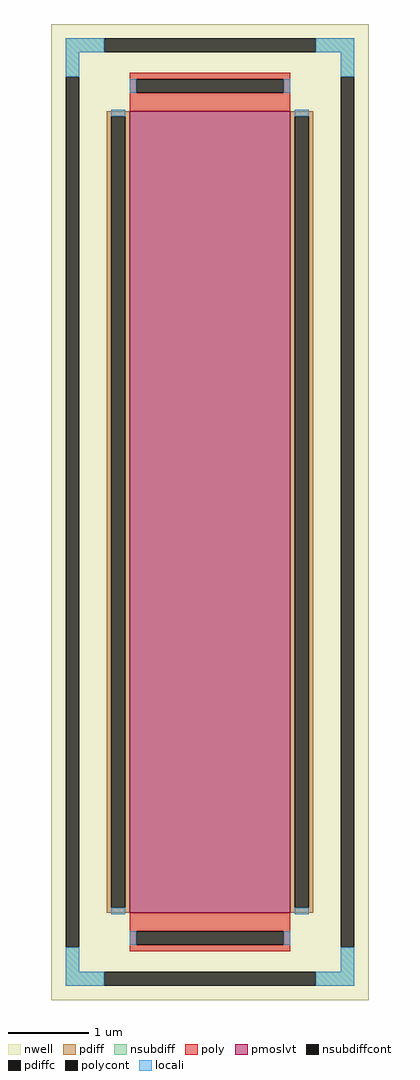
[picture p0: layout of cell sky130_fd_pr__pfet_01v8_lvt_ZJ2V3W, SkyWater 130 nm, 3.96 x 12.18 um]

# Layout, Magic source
magic
tech sky130A
<< nwell >>
rect -198 -609 198 609
<< pmoslvt >>
rect -100 -500 100 500
<< pdiff >>
rect -129 494 -100 500
rect -129 -494 -123 494
rect -106 -494 -100 494
rect -129 -500 -100 -494
rect 100 494 129 500
rect 100 -494 106 494
rect 123 -494 129 494
rect 100 -500 129 -494
<< pdiffc >>
rect -123 -494 -106 494
rect 106 -494 123 494
<< nsubdiff >>
rect -180 574 -132 591
rect 132 574 180 591
rect -180 543 -163 574
rect 163 543 180 574
rect -180 -574 -163 -543
rect 163 -574 180 -543
rect -180 -591 -132 -574
rect 132 -591 180 -574
<< nsubdiffcont >>
rect -132 574 132 591
rect -180 -543 -163 543
rect 163 -543 180 543
rect -132 -591 132 -574
<< poly >>
rect -100 540 100 548
rect -100 523 -92 540
rect 92 523 100 540
rect -100 500 100 523
rect -100 -523 100 -500
rect -100 -540 -92 -523
rect 92 -540 100 -523
rect -100 -548 100 -540
<< polycont >>
rect -92 523 92 540
rect -92 -540 92 -523
<< locali >>
rect -180 574 -132 591
rect 132 574 180 591
rect -180 543 -163 574
rect 163 543 180 574
rect -100 523 -92 540
rect 92 523 100 540
rect -123 494 -106 502
rect -123 -502 -106 -494
rect 106 494 123 502
rect 106 -502 123 -494
rect -100 -540 -92 -523
rect 92 -540 100 -523
rect -180 -574 -163 -543
rect 163 -574 180 -543
rect -180 -591 -132 -574
rect 132 -591 180 -574
<< properties >>
string gencell sky130_fd_pr__pfet_01v8_lvt
string FIXED_BBOX -171 -583 171 583
string parameters w 10 l 2 m 1 nf 1 diffcov 100 polycov 100 guard 1 glc 1 grc 1 gtc 1 gbc 1 tbcov 100 rlcov 100 topc 1 botc 1 poverlap 0 doverlap 1 lmin 0.35 wmin 0.42 compatible {sky130_fd_pr__pfet_01v8  sky130_fd_pr__pfet_01v8_lvt sky130_fd_pr__pfet_01v8_hvt  sky130_fd_pr__pfet_g5v0d10v5} full_metal 1
string library sky130
<< end >>
